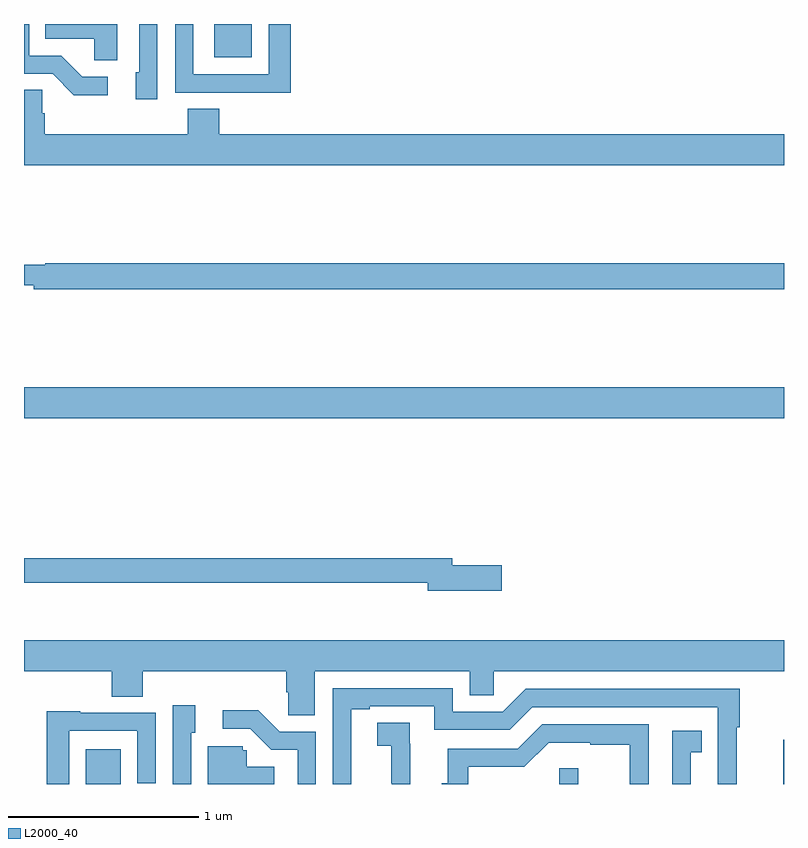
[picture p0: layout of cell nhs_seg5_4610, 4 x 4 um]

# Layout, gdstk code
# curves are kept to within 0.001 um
import gdstk
lib = gdstk.Library(unit=1e-6, precision=1e-09)
def R(c, l, rs):  # rectangles x0, y0, x1, y1
    for r in rs: c.add(gdstk.rectangle(r[:2], r[2:], *l))
def P(c, l, *ps):  # polygons
    for p in ps: c.add(gdstk.Polygon(p, *l))
L2000_40 = (2000, 40)

nhs_seg5_4610 = lib.new_cell('nhs_seg5_4610')
R(nhs_seg5_4610, L2000_40, [(381.326,890.799,381.508,890.983), (383.817,890.799,383.918,890.881), (384.997,890.799,385,891.031), (381,892.724,385,892.888), (382.001,894.623,382.198,894.799)])
P(nhs_seg5_4610, L2000_40, [(382.403,894.799),(382.287,894.799),(382.287,894.534),(381.891,894.534),(381.891,894.799),(381.795,894.799),(381.795,894.438),(382.111,894.438),(382.111,894.437),(382.403,894.437)],
  [(381.702,894.799),(381.606,894.799),(381.606,894.546),(381.587,894.546),(381.587,894.402),(381.702,894.402)],
  [(381.442,894.522),(381.307,894.522),(381.196,894.633),(381.027,894.633),(381.027,894.799),(381,894.799),(381,894.537),(381.15,894.537),(381.263,894.425),(381.442,894.425)],
  [(381.49,894.799),(381.112,894.799),(381.112,894.722),(381.369,894.722),(381.369,894.607),(381.49,894.607)],
  [(385,894.22),(382.028,894.22),(382.028,894.353),(381.863,894.353),(381.863,894.22),(381.11,894.22),(381.11,894.329),(381.096,894.329),(381.096,894.452),(381,894.452),(381,894.056),(385,894.056)],
  [(385,893.54),(381.113,893.54),(381.113,893.533),(381,893.533),(381,893.423),(381.052,893.423),(381.052,893.404),(385,893.404)],
  [(383.515,891.95),(383.254,891.95),(383.254,891.986),(381,891.986),(381,891.858),(383.126,891.858),(383.126,891.815),(383.515,891.815)],
  [(382.531,891.392),(383.345,891.392),(383.345,891.265),(383.472,891.265),(383.472,891.392),(385,891.392),(385,891.556),(381,891.556),(381,891.392),(381.461,891.392),(381.461,891.259),(381.626,891.259),(381.626,891.392),(382.379,891.392),(382.379,891.283),(382.392,891.283),(382.392,891.16),(382.531,891.16)],
  [(382.723,891.192),(382.819,891.192),(382.819,891.207),(383.16,891.207),(383.16,891.084),(383.556,891.084),(383.676,891.204),(384.651,891.204),(384.65,890.799),(384.75,890.799),(384.75,891.097),(384.767,891.097),(384.767,891.3),(383.64,891.3),(383.52,891.18),(383.256,891.18),(383.256,891.303),(382.626,891.303),(382.626,890.799),(382.723,890.799)],
  [(381.879,891.069),(381.901,891.069),(381.901,891.214),(381.783,891.214),(381.783,890.799),(381.879,890.799)],
  [(382.536,891.075),(382.347,891.075),(382.234,891.188),(382.047,891.188),(382.047,891.09),(382.191,891.09),(382.302,890.979),(382.44,890.979),(382.44,890.799),(382.536,890.799)],
  [(381.237,891.078),(381.597,891.078),(381.597,890.802),(381.693,890.802),(381.693,891.174),(381.297,891.174),(381.297,891.181),(381.121,891.181),(381.121,890.799),(381.237,890.799)],
  [(383.032,891.011),(383.03,891.011),(383.03,891.122),(382.86,891.122),(382.86,891.001),(382.934,891.001),(382.934,890.803),(382.935,890.803),(382.935,890.799),(383.032,890.799)],
  [(383.338,890.889),(383.634,890.889),(383.762,891.017),(383.981,891.017),(383.981,891.006),(384.187,891.006),(384.187,890.799),(384.288,890.799),(384.288,891.114),(383.727,891.114),(383.598,890.985),(383.231,890.985),(383.231,890.802),(383.198,890.802),(383.198,890.799),(383.338,890.799)],
  [(384.508,890.966),(384.566,890.966),(384.566,891.079),(384.411,891.079),(384.411,890.799),(384.508,890.799)],
  [(382.318,890.89),(382.173,890.89),(382.173,890.976),(382.152,890.976),(382.152,890.997),(381.968,890.997),(381.968,890.799),(382.318,890.799)])

lib.write_gds('nhs_seg5_4610.gds')
